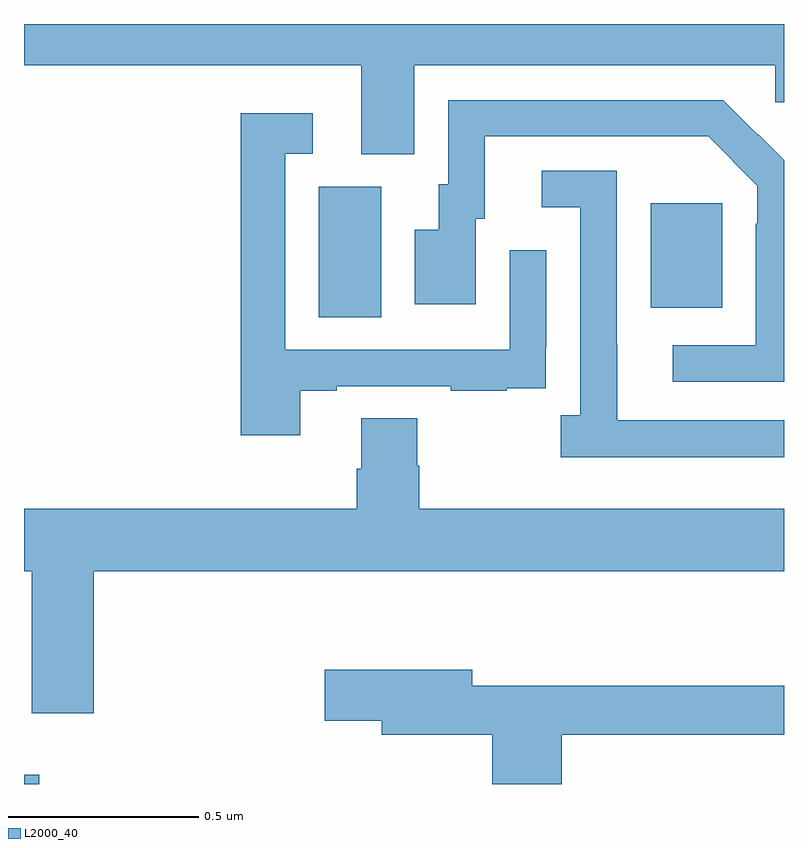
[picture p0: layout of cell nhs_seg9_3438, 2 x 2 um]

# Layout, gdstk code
import gdstk
lib = gdstk.Library(unit=1e-6, precision=1e-09)
def R(c, l, rs):  # rectangles x0, y0, x1, y1
    for r in rs: c.add(gdstk.rectangle(r[:2], r[2:], *l))
def P(c, l, *ps):  # polygons
    for p in ps: c.add(gdstk.Polygon(p, *l))
L2000_40 = (2000, 40)

nhs_seg9_3438 = lib.new_cell('nhs_seg9_3438')
R(nhs_seg9_3438, L2000_40, [(153,1222.5,153.04,1222.524), (153.776,1223.728,153.94,1224.072), (154.649,1223.753,154.837,1224.028)])
P(nhs_seg9_3438, L2000_40, [(154.027,1224.392),(154.977,1224.392),(154.977,1224.294),(155,1224.294),(155,1224.5),(153,1224.5),(153,1224.392),(153.887,1224.392),(153.887,1224.157),(154.027,1224.157)],
  [(155,1224.142),(154.932,1224.21),(154.931,1224.209),(154.84,1224.3),(154.116,1224.3),(154.116,1224.078),(154.091,1224.078),(154.091,1223.959),(154.028,1223.959),(154.028,1223.763),(154.189,1223.763),(154.189,1223.988),(154.213,1223.988),(154.213,1224.204),(154.801,1224.204),(154.929,1224.075),(154.929,1223.975),(154.926,1223.975),(154.926,1223.655),(154.707,1223.655),(154.707,1223.559),(155,1223.559)],
  [(153.727,1223.535),(153.823,1223.535),(153.823,1223.547),(154.123,1223.547),(154.123,1223.535),(154.271,1223.535),(154.271,1223.541),(154.373,1223.541),(154.373,1223.65),(154.374,1223.65),(154.374,1223.905),(154.278,1223.905),(154.278,1223.643),(153.687,1223.643),(153.687,1224.159),(153.76,1224.159),(153.76,1224.265),(153.571,1224.265),(153.571,1223.418),(153.727,1223.418)],
  [(155,1223.457),(154.561,1223.457),(154.561,1223.657),(154.56,1223.657),(154.56,1224.114),(154.362,1224.114),(154.362,1224.018),(154.464,1224.018),(154.464,1223.47),(154.413,1223.47),(154.413,1223.36),(155,1223.36)],
  [(153.184,1223.06),(155,1223.06),(155,1223.224),(154.04,1223.224),(154.04,1223.337),(154.035,1223.337),(154.035,1223.462),(153.887,1223.462),(153.887,1223.33),(153.875,1223.33),(153.875,1223.224),(153,1223.224),(153,1223.06),(153.02,1223.06),(153.02,1222.686),(153.184,1222.686)],
  [(154.415,1222.63),(155,1222.63),(155,1222.759),(154.18,1222.759),(154.18,1222.801),(153.792,1222.801),(153.792,1222.667),(153.941,1222.667),(153.941,1222.63),(154.232,1222.63),(154.232,1222.5),(154.415,1222.5)])

lib.write_gds('nhs_seg9_3438.gds')
